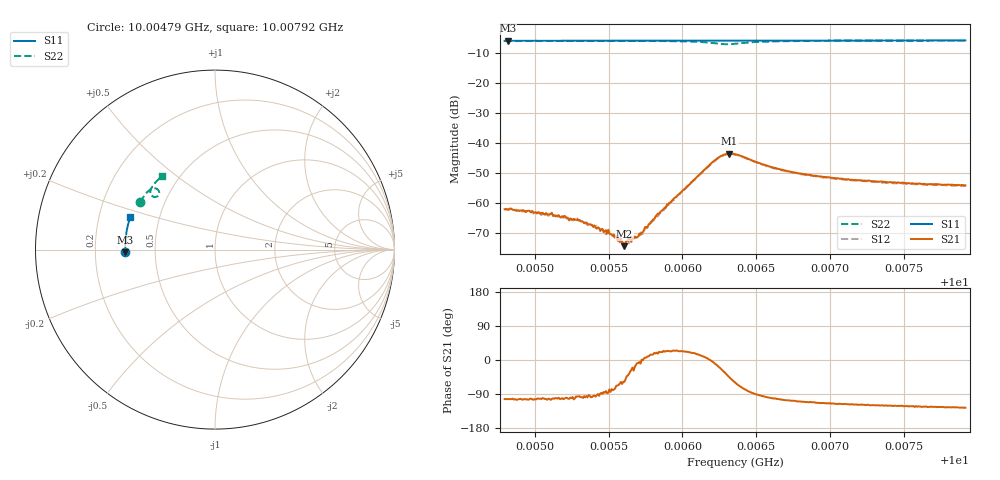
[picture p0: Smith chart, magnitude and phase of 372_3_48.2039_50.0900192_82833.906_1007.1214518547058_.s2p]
#  HZ  S  RI  R  50.00
! Rohde & Schwarz Vector Network Analyzer
! Rohde-Schwarz,ZNB20-2Port,1311601062101988,3.16
! Created: UTC 3/20/2024, 11:52:45 AM
! freq[Hz]  re:S11  im:S11  re:S21  im:S21  re:S12  im:S12  re:S22  im:S22
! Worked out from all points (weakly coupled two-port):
!   401 points, 10.00479 GHz to 10.00792 GHz, reference 50 ohm
!   highest |S21| = -43.54 dB at 10.00632 GHz (marker M1); lowest = -74.3 dB at 10.00561 GHz (marker M2)
!   lowest |S11| = -6.0 dB at 10.00482 GHz (marker M3), VSWR 2.99, Z = 16.7 - j0.626 ohm
!   |S11| at or under -10 dB: nowhere
!   |S22| runs from -7.2 to -6.0 dB; largest |S21 - S12| = 0.00038
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1.0004794e10  -0.499 -0.0155  -0.000175 -0.00077  -0.000131 -0.000795  -0.4164 0.2655
1.0004817e10  -0.499 -0.0141  -0.000177 -0.000751  -0.000139 -0.00076  -0.4156 0.267
1.0005114e10  -0.4997 0.00522  -0.000152 -0.000672  -0.000109 -0.000615  -0.4048 0.2845
1.0005286e10  -0.4998 0.0164  -5.89e-05 -0.000516  -3.59e-05 -0.000555  -0.3982 0.2946
1.0005317e10  -0.4997 0.0185  -6.73e-05 -0.000495  -1.95e-05 -0.000464  -0.3969 0.2964
1.0005419e10  -0.4998 0.025  -2.07e-05 -0.000376  1.74e-05 -0.00042  -0.3924 0.3025
1.0005481e10  -0.4997 0.0291  4.78e-05 -0.00035  2.4e-05 -0.000301  -0.3896 0.3064
1.0005513e10  -0.4997 0.0312  3.19e-05 -0.000303  9.24e-05 -0.000302  -0.388 0.3082
1.000556e10  -0.4995 0.0343  9.16e-05 -0.00022  9.6e-05 -0.000219  -0.3858 0.311
1.0005606e10  -0.4994 0.0372  0.000103 -0.000162  0.000134 -0.000157  -0.3833 0.3139
1.0005653e10  -0.4993 0.0403  0.000203 -9.91e-05  0.000228 -0.000115  -0.3809 0.317
1.0005708e10  -0.4992 0.0438  0.000308 -2.89e-05  0.000288 -2.6e-05  -0.3777 0.3203
1.0005724e10  -0.499 0.0449  0.000322 5.87e-06  0.000317 7.03e-06  -0.3769 0.3214
1.0005841e10  -0.4985 0.0525  0.00062 0.000242  0.000594 0.000246  -0.3687 0.3289
1.00062e10  -0.496 0.0756  0.0047 -0.000282  0.00458 -5.36e-05  -0.3172 0.3326
1.0006263e10  -0.4952 0.0793  0.00556 -0.00246  0.00553 -0.00213  -0.3111 0.3132
1.0006317e10  -0.4948 0.0826  0.00467 -0.00474  0.00482 -0.00439  -0.3221 0.2962
1.0006356e10  -0.4945 0.0849  0.0033 -0.0056  0.00352 -0.00531  -0.3353 0.2928
1.0006606e10  -0.4926 0.1009  -0.000748 -0.00389  -0.000532 -0.00381  -0.359 0.33
1.000688e10  -0.4892 0.1183  -0.00104 -0.00268  -0.000942 -0.00268  -0.3472 0.3547
1.0007403e10  -0.4814 0.1511  -0.00112 -0.00192  -0.00101 -0.00193  -0.3211 0.3846
1.0007919e10  -0.4713 0.1829  -0.00116 -0.00159  -0.00108 -0.00161  -0.295 0.4082
